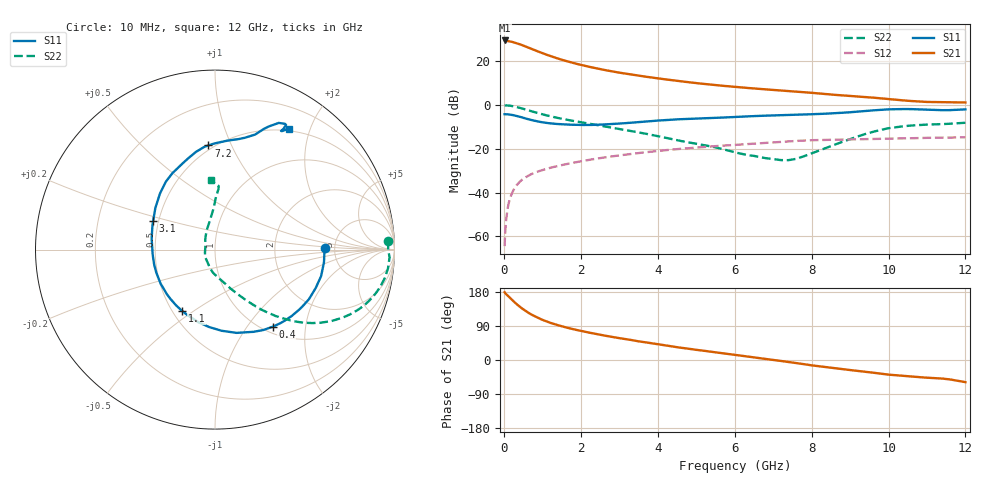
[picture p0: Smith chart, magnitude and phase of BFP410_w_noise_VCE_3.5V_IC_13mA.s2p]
! Infineon Technologies  Discrete & RF Semiconductors
! BFP410
! VCE =  3.5 V,  IC =  13 mA
! Common Emitter S-Parameters:  Nov 2015
# GHz  S  MA  R  50
!  f  S11  S21  S12  S22
! GHz  MAG  ANG  MAG  ANG  MAG  ANG  MAG  ANG
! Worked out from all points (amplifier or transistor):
!   243 points, 10 MHz to 12 GHz, reference 50 ohm
!   highest |S21| = 29.4 dB at 10 MHz (marker M1)
!   |S21| within 3 dB of that: start of sweep to 591 MHz
!   unconditionally stable (mu >= 1): start of sweep to 17.72 MHz; 2.22 GHz to end of sweep
!   at 240 MHz: K = 0.22, MSG = 33.7 dB, |S12| = -38.9 dB
!   at 1.84 GHz: K = 0.91, MSG = 22.6 dB, |S12| = -26.2 dB
!   at 12 GHz: K = 1.03, MAG = 6.8 dB, |S12| = -14.8 dB
!   lowest NFmin = 1.42 dB at 900 MHz
!   S11 on the Smith chart (normalised r, x): 10 MHz: 4.13, +0.13; 400 MHz: 1.10, -1.33; 1.1 GHz: 0.56, -0.45; 3.1 GHz: 0.47, +0.17; 7.2 GHz: 0.47, +0.82; 12 GHz: 0.47, +1.68
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0.01  0.6108 0.9  29.38 178.8  0.0006 83.5  0.9655 2.9
0.02  0.61 -1.9  29.09 177.0  0.001 74.0  0.9647 -0.1
0.055  0.6107 -7.3  28.66 173.2  0.0026 80.7  0.9732 -2.9
0.1  0.6094 -14.0  28.44 169.0  0.0049 80.4  0.9694 -6.3
0.2  0.5919 -27.8  27.37 158.9  0.0096 77.0  0.9433 -12.8
0.3  0.565 -41.0  25.89 149.4  0.0138 72.6  0.9037 -18.5
0.4  0.5365 -53.3  24.18 140.9  0.0175 68.7  0.8574 -23.5
0.5  0.5059 -64.9  22.41 133.2  0.0208 65.6  0.8088 -27.8
0.7  0.4536 -85.4  19.05 120.3  0.0262 60.9  0.7175 -34.6
0.9  0.4149 -102.9  16.22 110.1  0.0307 57.9  0.6403 -39.5
1.1  0.3878 -118.2  13.93 101.8  0.0348 56.1  0.5762 -43.2
1.3  0.3713 -131.4  12.12 94.8  0.0386 54.7  0.524 -46.2
1.52  0.3589 -143.8  10.54 88.4  0.0428 53.7  0.4775 -48.8
2.02  0.3487 -167.2  8.052 76.3  0.0522 51.2  0.3988 -53.7
2.6  0.3582 170.2  6.258 64.6  0.063 47.8  0.3232 -59.0
3.1  0.3798 155.2  5.242 56.1  0.0723 44.7  0.2713 -63.7
4.1  0.4433 132.5  3.907 39.9  0.0908 37.6  0.1853 -76.0
6.1  0.5333 105.5  2.526 12.2  0.124 21.8  0.079 -123.8
7.2  0.5816 93.6  2.126 -2.5  0.1435 12.4  0.055 -177.4
8.2  0.6201 80.5  1.814 -16.6  0.1576 1.6  0.0917 124.3
10.2  0.7958 62.1  1.306 -40.3  0.1696 -14.4  0.3096 88.0
12  0.7886 58.7  1.132 -58.4  0.1826 -29.9  0.3906 93.3
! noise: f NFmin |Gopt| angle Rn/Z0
0.45  1.45  0.03  -118  0.16
0.9  1.42  0.02  -123  0.16
1.8  1.53  0.08  -148  0.16
2.4  1.53  0.14  -128  0.21
5.5  2.4  0.38  -109  0.32
10  3.52  0.68  -48  2.04
